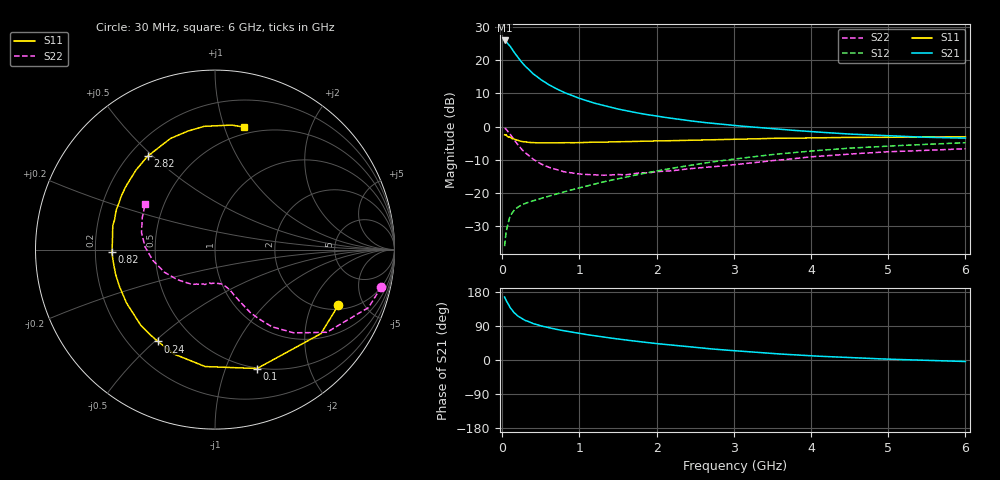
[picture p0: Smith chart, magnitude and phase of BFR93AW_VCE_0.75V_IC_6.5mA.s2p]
! Infineon Technologies  Discrete & RF Semiconductors
! BFR93AW
! VCE = 0.75 V,  IC =  6.5 mA
! Common Emitter S-Parameters:  Nov 2015
# GHz  S  MA  R  50
!  f  S11  S21  S12  S22
! GHz  MAG  ANG  MAG  ANG  MAG  ANG  MAG  ANG
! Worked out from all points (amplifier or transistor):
!   206 points, 30 MHz to 6 GHz, reference 50 ohm
!   highest |S21| = 25.9 dB at 30 MHz (marker M1)
!   |S21| within 3 dB of that: start of sweep to 137.4 MHz
!   unconditionally stable (mu >= 1): 814.2 MHz to 2.749 GHz
!   at 200 MHz: K = 0.38, MSG = 22.5 dB, |S12| = -24.2 dB
!   at 1.56 GHz: K = 1.11, MAG = 8.1 dB, |S12| = -15.4 dB
!   at 6 GHz: K = 0.99, MSG = 0.7 dB, |S12| = -4.8 dB
!   S11 on the Smith chart (normalised r, x): 30 MHz: 2.22, -3.20; 100 MHz: 0.49, -1.29; 240 MHz: 0.32, -0.51; 820 MHz: 0.27, -0.01; 2.82 GHz: 0.27, +0.48; 6 GHz: 0.43, +1.17
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0.03  0.754 -24.3  19.69 166.1  0.016 77.2  0.9501 -12.6
0.05  0.7534 -38.4  19.04 156.8  0.0261 71.9  0.9142 -20.7
0.1  0.7028 -70.5  16.23 138.5  0.0447 58.5  0.7748 -36.5
0.15  0.6539 -94.8  13.27 125.4  0.055 50.1  0.638 -46.6
0.2  0.6252 -111.4  11.05 116.2  0.0617 45.8  0.5366 -53.4
0.24  0.6024 -121.9  9.637 110.9  0.0656 44.0  0.4726 -56.7
0.26  0.5968 -126.5  9.036 108.4  0.0674 43.4  0.4459 -58.2
0.3  0.5907 -134.4  8.016 104.1  0.0705 42.7  0.4026 -60.7
0.4  0.5757 -148.9  6.216 96.1  0.0769 42.9  0.3239 -64.3
0.5  0.5707 -158.9  5.076 90.0  0.0834 44.7  0.2752 -67.2
0.6  0.5706 -166.2  4.278 85.2  0.09 46.7  0.2459 -69.1
0.7  0.571 -172.5  3.714 80.9  0.0972 48.2  0.2262 -71.6
0.82  0.5738 -178.9  3.2 76.4  0.1062 50.3  0.208 -75.1
1.04  0.5766 171.9  2.564 68.8  0.1237 53.4  0.1927 -81.1
1.2  0.5848 166.4  2.242 63.9  0.1373 54.8  0.1885 -86.3
1.48  0.5922 158.2  1.86 56.1  0.1628 56.6  0.1901 -95.7
2.02  0.6101 143.4  1.424 42.9  0.2176 56.4  0.2113 -113.2
2.82  0.6414 125.6  1.091 27.4  0.3058 51.8  0.2547 -136.6
3.1  0.6479 119.7  1.017 23.0  0.3356 49.3  0.274 -144.3
4.1  0.6786 101.3  0.827 10.0  0.4384 38.4  0.3581 -172.8
5.1  0.6924 87.1  0.721 1.6  0.5169 26.7  0.423 165.0
6  0.7013 76.7  0.672 -4.0  0.573 16.9  0.4645 146.9
